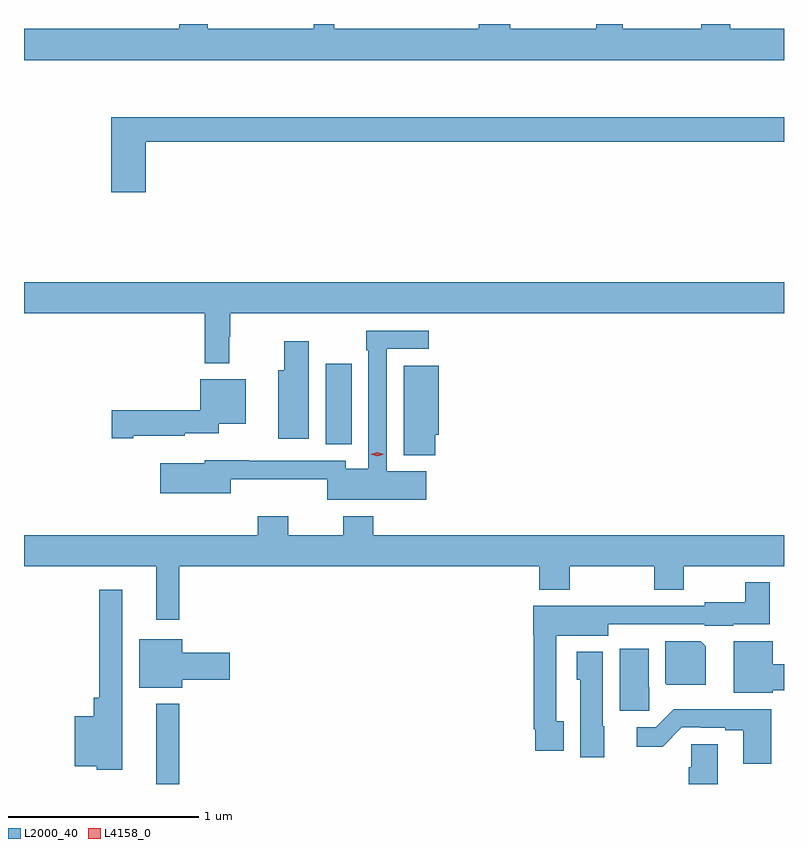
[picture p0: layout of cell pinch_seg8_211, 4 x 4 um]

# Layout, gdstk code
import gdstk
lib = gdstk.Library(unit=1e-6, precision=1e-09)
def R(c, l, rs):  # rectangles x0, y0, x1, y1
    for r in rs: c.add(gdstk.rectangle(r[:2], r[2:], *l))
def P(c, l, *ps):  # polygons
    for p in ps: c.add(gdstk.Polygon(p, *l))
L2000_40 = (2000, 40)
L4158_0 = (4158, 0)

pinch_seg8_211 = lib.new_cell('pinch_seg8_211')
R(pinch_seg8_211, L2000_40, [(734.555,1108.694,734.677,1109.116), (735.446,1110.481,735.583,1110.907)])
P(pinch_seg8_211, L2000_40, [(737.859,1112.668),(737.576,1112.668),(737.576,1112.694),(737.423,1112.694),(737.423,1112.668),(737.011,1112.668),(737.011,1112.694),(736.871,1112.694),(736.871,1112.668),(736.417,1112.668),(736.417,1112.694),(736.253,1112.694),(736.253,1112.668),(735.493,1112.668),(735.493,1112.694),(735.384,1112.694),(735.384,1112.668),(734.827,1112.668),(734.827,1112.694),(734.675,1112.694),(734.675,1112.668),(733.859,1112.668),(733.859,1112.504),(737.859,1112.504)],
  [(734.501,1112.074),(737.859,1112.074),(737.859,1112.203),(734.318,1112.203),(734.318,1111.809),(734.501,1111.809)],
  [(734.938,1111.049),(734.945,1111.049),(734.945,1111.172),(737.859,1111.172),(737.859,1111.336),(733.859,1111.336),(733.859,1111.172),(734.809,1111.172),(734.809,1110.909),(734.938,1110.909)],
  [(735.976,1110.34),(735.768,1110.34),(735.768,1110.984),(735.988,1110.984),(735.988,1111.08),(735.66,1111.08),(735.66,1110.977),(735.672,1110.977),(735.672,1110.352),(735.552,1110.352),(735.552,1110.396),(735.043,1110.396),(735.043,1110.398),(734.811,1110.398),(734.811,1110.382),(734.577,1110.382),(734.577,1110.224),(734.947,1110.224),(734.947,1110.299),(735.456,1110.299),(735.456,1110.191),(735.976,1110.191)],
  [(735.358,1111.024),(735.229,1111.024),(735.229,1110.871),(735.197,1110.871),(735.197,1110.51),(735.358,1110.51)],
  [(736.024,1110.531),(736.042,1110.531),(736.042,1110.895),(735.857,1110.895),(735.857,1110.425),(736.024,1110.425)],
  [(734.434,1110.527),(734.706,1110.527),(734.706,1110.539),(734.883,1110.539),(734.883,1110.59),(735.025,1110.59),(735.025,1110.823),(734.787,1110.823),(734.787,1110.662),(734.322,1110.662),(734.322,1110.515),(734.434,1110.515)],
  [(736.571,1109.717),(736.731,1109.717),(736.731,1109.84),(737.176,1109.84),(737.176,1109.716),(737.331,1109.716),(737.331,1109.84),(737.859,1109.84),(737.859,1110.004),(735.698,1110.004),(735.698,1110.103),(735.538,1110.103),(735.538,1110.004),(735.249,1110.004),(735.249,1110.103),(735.089,1110.103),(735.089,1110.004),(733.859,1110.004),(733.859,1109.84),(734.555,1109.84),(734.555,1109.559),(734.677,1109.559),(734.677,1109.84),(736.571,1109.84)],
  [(736.699,1109.025),(736.659,1109.025),(736.659,1109.474),(736.933,1109.474),(736.933,1109.535),(737.442,1109.535),(737.442,1109.528),(737.592,1109.528),(737.592,1109.534),(737.783,1109.534),(737.783,1109.755),(737.655,1109.755),(737.655,1109.65),(737.442,1109.65),(737.442,1109.631),(736.925,1109.631),(736.925,1109.632),(736.538,1109.632),(736.538,1109.478),(736.543,1109.478),(736.543,1108.981),(736.551,1108.981),(736.551,1108.869),(736.699,1108.869)],
  [(734.377,1109.716),(734.256,1109.716),(734.256,1109.149),(734.225,1109.149),(734.225,1109.05),(734.126,1109.05),(734.126,1108.787),(734.241,1108.787),(734.241,1108.769),(734.377,1108.769)],
  [(734.692,1109.243),(734.941,1109.243),(734.941,1109.385),(734.692,1109.385),(734.692,1109.455),(734.465,1109.455),(734.465,1109.201),(734.692,1109.201)],
  [(737.446,1109.42),(737.42,1109.446),(737.234,1109.446),(737.234,1109.224),(737.242,1109.216),(737.446,1109.216)],
  [(737.8,1109.188),(737.859,1109.188),(737.859,1109.324),(737.8,1109.324),(737.8,1109.446),(737.594,1109.446),(737.594,1109.174),(737.8,1109.174)],
  [(737.15,1109.202),(737.146,1109.202),(737.146,1109.407),(736.994,1109.407),(736.994,1109.079),(737.15,1109.079)],
  [(736.912,1108.998),(736.906,1108.998),(736.906,1109.389),(736.769,1109.389),(736.769,1109.244),(736.787,1109.244),(736.787,1108.836),(736.912,1108.836)],
  [(737.793,1109.087),(737.279,1109.087),(737.184,1108.992),(737.085,1108.992),(737.085,1108.89),(737.22,1108.89),(737.322,1108.992),(737.422,1108.992),(737.422,1108.989),(737.549,1108.989),(737.549,1108.977),(737.645,1108.977),(737.645,1108.8),(737.793,1108.8)],
  [(737.509,1108.904),(737.37,1108.904),(737.37,1108.782),(737.357,1108.782),(737.357,1108.694),(737.509,1108.694)])
P(pinch_seg8_211, L4158_0, [(735.719,1110.419),(735.685,1110.429),(735.684,1110.429),(735.685,1110.429),(735.719,1110.439),(735.754,1110.429),(735.754,1110.429),(735.754,1110.429)])

lib.write_gds('pinch_seg8_211.gds')
